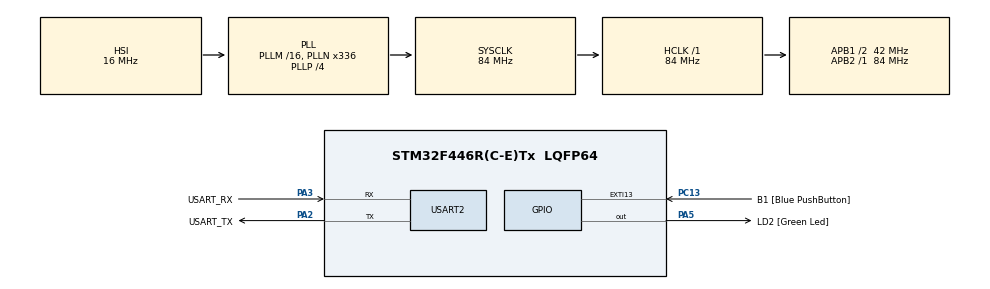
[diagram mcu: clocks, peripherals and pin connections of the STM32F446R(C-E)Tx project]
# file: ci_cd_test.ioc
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Mcu.Family=STM32F4
Mcu.Name=STM32F446R(C-E)Tx
Mcu.Package=LQFP64
NVIC.PriorityGroup=NVIC_PRIORITYGROUP_0
PA13.GPIO_Label=TMS
PA13.Mode=Serial_Wire
PA13.Signal=SYS_JTMS-SWDIO
PA14.GPIO_Label=TCK
PA14.Mode=Serial_Wire
PA14.Signal=SYS_JTCK-SWCLK
PA2.GPIO_Label=USART_TX
PA2.Mode=Asynchronous
PA2.Signal=USART2_TX
PA3.GPIO_Label=USART_RX
PA3.Mode=Asynchronous
PA3.Signal=USART2_RX
PA5.GPIO_Label=LD2 [Green Led]
PA5.Signal=GPIO_Output
PB3.GPIO_Label=SWO
PB3.Signal=SYS_JTDO-SWO
PC13.GPIO_Label=B1 [Blue PushButton]
PC13.GPIO_ModeDefaultEXTI=GPIO_MODE_IT_FALLING
PC13.Signal=GPXTI13
PC14-OSC32_IN.Mode=LSE-External-Oscillator
PC14-OSC32_IN.Signal=RCC_OSC32_IN
PC15-OSC32_OUT.Mode=LSE-External-Oscillator
PC15-OSC32_OUT.Signal=RCC_OSC32_OUT
PH0-OSC_IN.Mode=HSE-External-Oscillator
PH0-OSC_IN.Signal=RCC_OSC_IN
PH1-OSC_OUT.Mode=HSE-External-Oscillator
PH1-OSC_OUT.Signal=RCC_OSC_OUT
ProjectManager.HeapSize=0x200
ProjectManager.StackSize=0x400
ProjectManager.TargetToolchain=STM32CubeIDE
RCC.48MHZClocksFreq_Value=84000000
RCC.AHBFreq_Value=84000000
RCC.APB1CLKDivider=RCC_HCLK_DIV2
RCC.APB1Freq_Value=42000000
RCC.APB1TimFreq_Value=84000000
RCC.APB2Freq_Value=84000000
RCC.APB2TimFreq_Value=84000000
RCC.CortexFreq_Value=84000000
RCC.FLatency-AdvancedSettings=FLASH_LATENCY_2
RCC.HCLKFreq_Value=84000000
RCC.HSE_VALUE=8000000
RCC.HSI_VALUE=16000000
RCC.PLLN=336
RCC.PLLP=RCC_PLLP_DIV4
RCC.SYSCLKFreq_VALUE=84000000
RCC.SYSCLKSource=RCC_SYSCLKSOURCE_PLLCLK
RCC.USBFreq_Value=168000000
RCC.VCOOutputFreq_Value=336000000
USART2.VirtualMode=VM_ASYNC
board=NUCLEO-F446RE

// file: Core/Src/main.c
/* USER CODE BEGIN Header */
/**
  ******************************************************************************
  * @file           : main.c
  * @brief          : Main program body
  ******************************************************************************
  * @attention
  *
  * Copyright (c) 2026 STMicroelectronics.
  * All rights reserved.
  *
  * This software is licensed under terms that can be found in the LICENSE file
  * in the root directory of this software component.
  * If no LICENSE file comes with this software, it is provided AS-IS.
  *
  ******************************************************************************
  */
/* USER CODE END Header */
#include "main.h"
#include <string.h>
#include "version.h"

UART_HandleTypeDef huart2;

/* USER CODE BEGIN PV */

static char rx_line[64];

/* USER CODE END PV */

void SystemClock_Config(void);
static void MX_GPIO_Init(void);
static void MX_USART2_UART_Init(void);

/* USER CODE BEGIN 0 */

static void uart_print(const char *s) {
    HAL_UART_Transmit(&huart2, (uint8_t *)s, strlen(s), HAL_MAX_DELAY);
}

static void uart_read_line(char *buf, int maxlen) {
    int i = 0;
    while (i < maxlen - 1) {
        uint8_t c;
        if (HAL_UART_Receive(&huart2, &c, 1, HAL_MAX_DELAY) != HAL_OK) continue;
        if (c == '\r' || c == '\n') { if (i > 0) break; else continue; }
        HAL_UART_Transmit(&huart2, &c, 1, HAL_MAX_DELAY); // echo
        buf[i++] = (char)c;
    }
    buf[i] = '\0';
}

/* USER CODE END 0 */

int main(void)
{

  /* MCU Configuration--------------------------------------------------------*/

  /* Reset of all peripherals, Initializes the Flash interface and the Systick. */
  HAL_Init();

  /* Configure the system clock */
  SystemClock_Config();

  /* Initialize all configured peripherals */
  MX_GPIO_Init();
  MX_USART2_UART_Init();

  /* Infinite loop */
	    while (1)
	    {

    /* USER CODE BEGIN 3 */
	      uart_print("\r\n> ");
	      uart_read_line(rx_line, sizeof(rx_line));

	      if (strcmp(rx_line, "version") == 0) {
	          uart_print("\r\nVersion=\"" VERSION "\"");
	      } else if (strcmp(rx_line, "led on") == 0) {
	          HAL_GPIO_WritePin(LD2_GPIO_Port, LD2_Pin, GPIO_PIN_SET);
	          uart_print("\r\nOK");
	      } else if (strcmp(rx_line, "led off") == 0) {
	          HAL_GPIO_WritePin(LD2_GPIO_Port, LD2_Pin, GPIO_PIN_RESET);
	          uart_print("\r\nOK");
	      } else if (rx_line[0] != '\0') {
	          uart_print("\r\nERR");
	      }
	    }
  /* USER CODE END 3 */
}

void SystemClock_Config(void)
{
  RCC_OscInitTypeDef RCC_OscInitStruct = {0};
  RCC_ClkInitTypeDef RCC_ClkInitStruct = {0};

  /** Configure the main internal regulator output voltage
  */
  __HAL_RCC_PWR_CLK_ENABLE();
  __HAL_PWR_VOLTAGESCALING_CONFIG(PWR_REGULATOR_VOLTAGE_SCALE3);

  /** Initializes the RCC Oscillators according to the specified parameters
  * in the RCC_OscInitTypeDef structure.
  */
  RCC_OscInitStruct.OscillatorType = RCC_OSCILLATORTYPE_HSI;
  RCC_OscInitStruct.HSIState = RCC_HSI_ON;
  RCC_OscInitStruct.HSICalibrationValue = RCC_HSICALIBRATION_DEFAULT;
  RCC_OscInitStruct.PLL.PLLState = RCC_PLL_ON;
  RCC_OscInitStruct.PLL.PLLSource = RCC_PLLSOURCE_HSI;
  RCC_OscInitStruct.PLL.PLLM = 16;
  RCC_OscInitStruct.PLL.PLLN = 336;
  RCC_OscInitStruct.PLL.PLLP = RCC_PLLP_DIV4;
  RCC_OscInitStruct.PLL.PLLQ = 2;
  RCC_OscInitStruct.PLL.PLLR = 2;
  if (HAL_RCC_OscConfig(&RCC_OscInitStruct) != HAL_OK)
  {
    Error_Handler();
  }

  /** Initializes the CPU, AHB and APB buses clocks
  */
  RCC_ClkInitStruct.ClockType = RCC_CLOCKTYPE_HCLK|RCC_CLOCKTYPE_SYSCLK
                              |RCC_CLOCKTYPE_PCLK1|RCC_CLOCKTYPE_PCLK2;
  RCC_ClkInitStruct.SYSCLKSource = RCC_SYSCLKSOURCE_PLLCLK;
  RCC_ClkInitStruct.AHBCLKDivider = RCC_SYSCLK_DIV1;
  RCC_ClkInitStruct.APB1CLKDivider = RCC_HCLK_DIV2;
  RCC_ClkInitStruct.APB2CLKDivider = RCC_HCLK_DIV1;

  if (HAL_RCC_ClockConfig(&RCC_ClkInitStruct, FLASH_LATENCY_2) != HAL_OK)
  {
    Error_Handler();
  }
}

static void MX_USART2_UART_Init(void)
{

  huart2.Instance = USART2;
  huart2.Init.BaudRate = 115200;
  huart2.Init.WordLength = UART_WORDLENGTH_8B;
  huart2.Init.StopBits = UART_STOPBITS_1;
  huart2.Init.Parity = UART_PARITY_NONE;
  huart2.Init.Mode = UART_MODE_TX_RX;
  huart2.Init.HwFlowCtl = UART_HWCONTROL_NONE;
  huart2.Init.OverSampling = UART_OVERSAMPLING_16;
  if (HAL_UART_Init(&huart2) != HAL_OK)
  {
    Error_Handler();
  }

}

static void MX_GPIO_Init(void)
{
  GPIO_InitTypeDef GPIO_InitStruct = {0};

  /* GPIO Ports Clock Enable */
  __HAL_RCC_GPIOC_CLK_ENABLE();
  __HAL_RCC_GPIOH_CLK_ENABLE();
  __HAL_RCC_GPIOA_CLK_ENABLE();
  __HAL_RCC_GPIOB_CLK_ENABLE();

  /*Configure GPIO pin Output Level */
  HAL_GPIO_WritePin(LD2_GPIO_Port, LD2_Pin, GPIO_PIN_RESET);

  /*Configure GPIO pin : B1_Pin */
  GPIO_InitStruct.Pin = B1_Pin;
  GPIO_InitStruct.Mode = GPIO_MODE_IT_FALLING;
  GPIO_InitStruct.Pull = GPIO_NOPULL;
  HAL_GPIO_Init(B1_GPIO_Port, &GPIO_InitStruct);

  /*Configure GPIO pin : LD2_Pin */
  GPIO_InitStruct.Pin = LD2_Pin;
  GPIO_InitStruct.Mode = GPIO_MODE_OUTPUT_PP;
  GPIO_InitStruct.Pull = GPIO_NOPULL;
  GPIO_InitStruct.Speed = GPIO_SPEED_FREQ_LOW;
  HAL_GPIO_Init(LD2_GPIO_Port, &GPIO_InitStruct);

}

void Error_Handler(void)
{
  __disable_irq();
  while (1)
  {
  }
}
